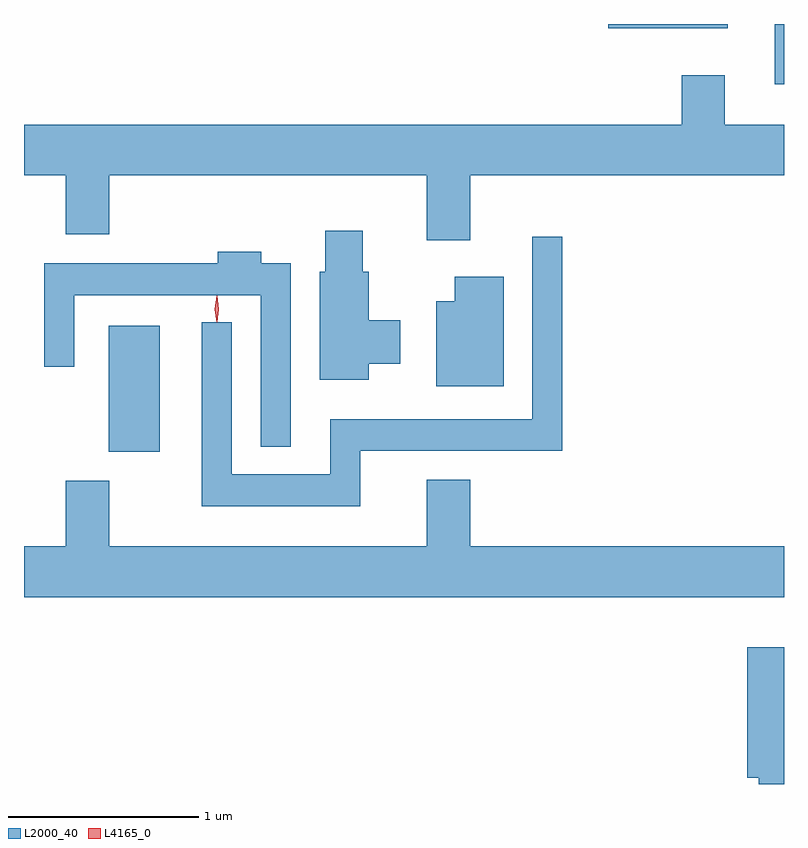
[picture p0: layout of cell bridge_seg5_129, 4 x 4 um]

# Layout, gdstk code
import gdstk
lib = gdstk.Library(unit=1e-6, precision=1e-09)
def R(c, l, rs):  # rectangles x0, y0, x1, y1
    for r in rs: c.add(gdstk.rectangle(r[:2], r[2:], *l))
def P(c, l, *ps):  # polygons
    for p in ps: c.add(gdstk.Polygon(p, *l))
L2000_40 = (2000, 40)
L4165_0 = (4165, 0)

bridge_seg5_129 = lib.new_cell('bridge_seg5_129')
R(bridge_seg5_129, L2000_40, [(1221.296,1417.601,1221.564,1418.264), (1224.801,1419.536,1224.85,1419.853), (1223.926,1419.831,1224.554,1419.853)])
P(bridge_seg5_129, L2000_40, [(1223.199,1419.056),(1224.85,1419.056),(1224.85,1419.324),(1224.539,1419.324),(1224.539,1419.584),(1224.311,1419.584),(1224.311,1419.324),(1220.85,1419.324),(1220.85,1419.056),(1221.071,1419.056),(1221.071,1418.746),(1221.299,1418.746),(1221.299,1419.056),(1222.971,1419.056),(1222.971,1418.716),(1223.199,1418.716)],
  [(1222.664,1418.066),(1222.829,1418.066),(1222.829,1418.294),(1222.664,1418.294),(1222.664,1418.549),(1222.634,1418.549),(1222.634,1418.764),(1222.436,1418.764),(1222.436,1418.549),(1222.406,1418.549),(1222.406,1417.981),(1222.664,1417.981)],
  [(1222.619,1417.606),(1223.684,1417.606),(1223.684,1418.733),(1223.526,1418.733),(1223.526,1417.774),(1222.461,1417.774),(1222.461,1417.484),(1221.944,1417.484),(1221.944,1418.283),(1221.786,1418.283),(1221.786,1417.316),(1222.619,1417.316)],
  [(1222.254,1418.594),(1222.099,1418.594),(1222.099,1418.654),(1221.871,1418.654),(1221.871,1418.594),(1220.956,1418.594),(1220.956,1418.048),(1221.114,1418.048),(1221.114,1418.426),(1222.096,1418.426),(1222.096,1417.628),(1222.254,1417.628)],
  [(1223.374,1418.524),(1223.116,1418.524),(1223.116,1418.394),(1223.021,1418.394),(1223.021,1417.946),(1223.374,1417.946)],
  [(1224.85,1417.104),(1223.199,1417.104),(1223.199,1417.454),(1222.971,1417.454),(1222.971,1417.104),(1221.299,1417.104),(1221.299,1417.449),(1221.071,1417.449),(1221.071,1417.104),(1220.85,1417.104),(1220.85,1416.836),(1224.85,1416.836)],
  [(1224.85,1416.574),(1224.656,1416.574),(1224.656,1415.886),(1224.716,1415.886),(1224.716,1415.853),(1224.85,1415.853)])
P(bridge_seg5_129, L4165_0, [(1221.865,1418.283),(1221.864,1418.284),(1221.855,1418.353),(1221.864,1418.422),(1221.865,1418.423),(1221.866,1418.422),(1221.875,1418.353),(1221.866,1418.284)])

lib.write_gds('bridge_seg5_129.gds')
